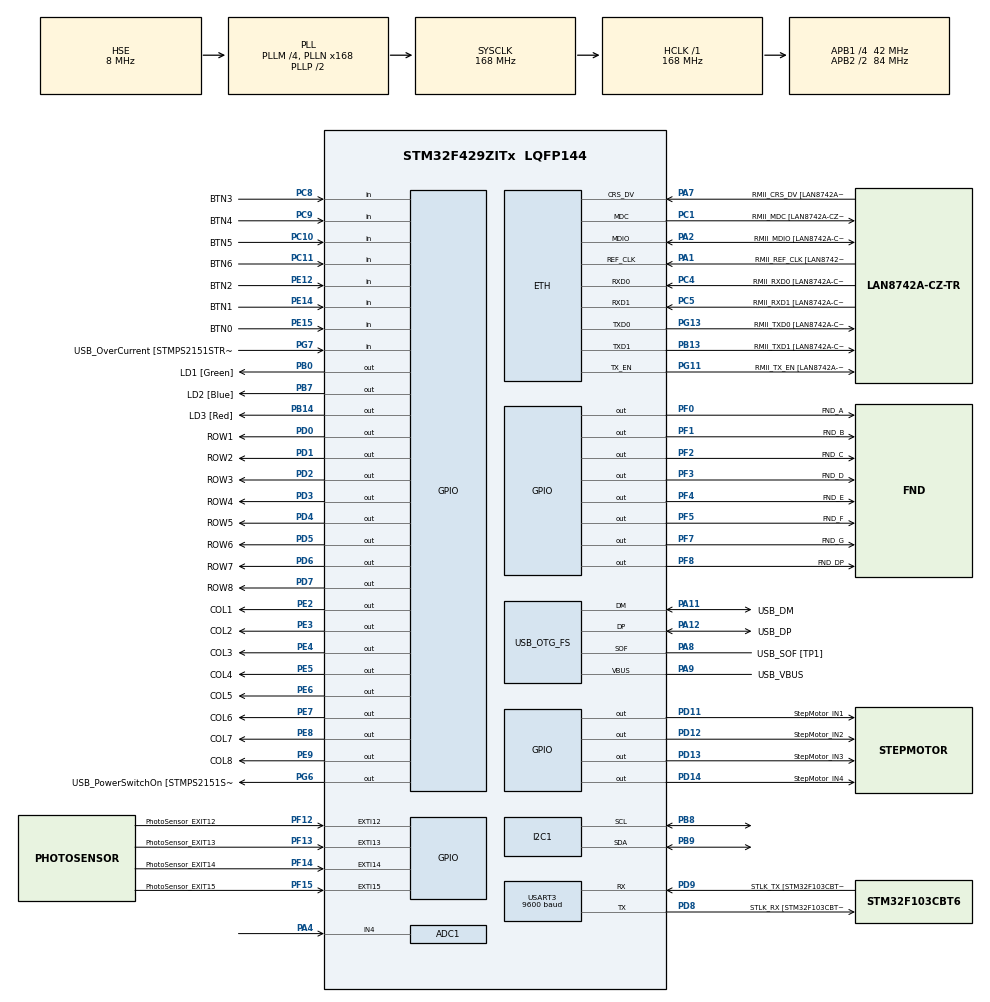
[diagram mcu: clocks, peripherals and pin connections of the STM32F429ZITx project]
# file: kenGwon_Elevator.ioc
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ADC1.Channel-0\#ChannelRegularConversion=ADC_CHANNEL_4
ADC1.ContinuousConvMode=ENABLE
ADC1.NbrOfConversionFlag=1
ADC1.Rank-0\#ChannelRegularConversion=1
ADC1.SamplingTime-0\#ChannelRegularConversion=ADC_SAMPLETIME_480CYCLES
ADC1.ScanConvMode=DISABLE
ADC1.master=1
ETH.MediaInterface=HAL_ETH_RMII_MODE
ETH.PHY_Name=LAN8742A_PHY_ADDRESS
ETH.PHY_Value=0
ETH.PhyAddress=0
FREERTOS.Events01=select_floor,Dynamic,NULL
FREERTOS.Mutexes01=mutex_lcd,Dynamic,NULL
FREERTOS.Tasks01=defaultTask,24,128,StartDefaultTask,Default,NULL,Dynamic,NULL,NULL;ctrl_StepMotor,8,128,ctrl_stepmotor,Default,NULL,Dynamic,NULL,NULL;ctrl_DotMatrix,8,128,ctrl_dotmatrix,Default,NULL,Dynamic,NULL,NULL;polling_BTN,8,128,polling_btn,Default,NULL,Dynamic,NULL,NULL;polling_BTN_FLO,8,128,polling_btn_floor,Default,NULL,Dynamic,NULL,NULL
FREERTOS.configUSE_NEWLIB_REENTRANT=1
Mcu.Family=STM32F4
Mcu.Name=STM32F429ZITx
Mcu.Package=LQFP144
NVIC.ADC_IRQn=true\:5\:0\:false\:false\:true\:true\:true\:true\:true
NVIC.EXTI15_10_IRQn=true\:5\:0\:false\:false\:true\:true\:true\:true\:true
NVIC.PriorityGroup=NVIC_PRIORITYGROUP_4
NVIC.TIM1_TRG_COM_TIM11_IRQn=true\:5\:0\:false\:false\:true\:true\:true\:true\:true
NVIC.TIM1_UP_TIM10_IRQn=true\:15\:0\:false\:false\:true\:false\:false\:true\:true
NVIC.TimeBase=TIM1_UP_TIM10_IRQn
NVIC.TimeBaseIP=TIM10
NVIC.USART3_IRQn=true\:5\:0\:false\:false\:true\:true\:true\:true\:true
PA1.GPIO_Label=RMII_REF_CLK [LAN8742A-CZ-TR_REFCLK0]
PA1.Mode=RMII
PA1.Signal=ETH_REF_CLK
PA10.GPIO_Label=USB_ID
PA10.Signal=USB_OTG_FS_ID
PA11.GPIO_Label=USB_DM
PA11.Mode=Device_Only
PA11.Signal=USB_OTG_FS_DM
PA12.GPIO_Label=USB_DP
PA12.Mode=Device_Only
PA12.Signal=USB_OTG_FS_DP
PA13.GPIO_Label=TMS
PA13.Mode=Serial_Wire
PA13.Signal=SYS_JTMS-SWDIO
PA14.GPIO_Label=TCK
PA14.Mode=Serial_Wire
PA14.Signal=SYS_JTCK-SWCLK
PA2.GPIO_Label=RMII_MDIO [LAN8742A-CZ-TR_MDIO]
PA2.Mode=RMII
PA2.Signal=ETH_MDIO
PA4.Signal=ADCx_IN4
PA7.GPIO_Label=RMII_CRS_DV [LAN8742A-CZ-TR_CRS_DV]
PA7.Mode=RMII
PA7.Signal=ETH_CRS_DV
PA8.GPIO_Label=USB_SOF [TP1]
PA8.Mode=Activate_SOF_FS
PA8.Signal=USB_OTG_FS_SOF
PA9.GPIO_Label=USB_VBUS
PA9.Mode=Activate_VBUS
PA9.Signal=USB_OTG_FS_VBUS
PB0.GPIO_Label=LD1 [Green]
PB0.Signal=GPIO_Output
PB13.GPIO_Label=RMII_TXD1 [LAN8742A-CZ-TR_TXD1]
PB13.Mode=RMII
PB13.Signal=ETH_TXD1
PB14.GPIO_Label=LD3 [Red]
PB14.Signal=GPIO_Output
PB7.GPIO_Label=LD2 [Blue]
PB7.Signal=GPIO_Output
PB8.Mode=I2C
PB8.Signal=I2C1_SCL
PB9.Mode=I2C
PB9.Signal=I2C1_SDA
PC1.GPIO_Label=RMII_MDC [LAN8742A-CZ-TR_MDC]
PC1.Mode=RMII
PC1.Signal=ETH_MDC
PC10.GPIO_Label=BTN5
PC10.Signal=GPIO_Input
PC11.GPIO_Label=BTN6
PC11.Signal=GPIO_Input
PC14/OSC32_IN.Mode=LSE-External-Oscillator
PC14/OSC32_IN.Signal=RCC_OSC32_IN
PC15/OSC32_OUT.Mode=LSE-External-Oscillator
PC15/OSC32_OUT.Signal=RCC_OSC32_OUT
PC4.GPIO_Label=RMII_RXD0 [LAN8742A-CZ-TR_RXD0]
PC4.Mode=RMII
PC4.Signal=ETH_RXD0
PC5.GPIO_Label=RMII_RXD1 [LAN8742A-CZ-TR_RXD1]
PC5.Mode=RMII
PC5.Signal=ETH_RXD1
PC8.GPIO_Label=BTN3
PC8.Signal=GPIO_Input
PC9.GPIO_Label=BTN4
PC9.Signal=GPIO_Input
PD0.GPIO_Label=ROW1
PD0.Signal=GPIO_Output
PD1.GPIO_Label=ROW2
PD1.Signal=GPIO_Output
PD11.GPIO_Label=StepMotor_IN1
PD11.Signal=GPIO_Output
PD12.GPIO_Label=StepMotor_IN2
PD12.Signal=GPIO_Output
PD13.GPIO_Label=StepMotor_IN3
PD13.Signal=GPIO_Output
PD14.GPIO_Label=StepMotor_IN4
PD14.Signal=GPIO_Output
PD2.GPIO_Label=ROW3
PD2.Signal=GPIO_Output
PD3.GPIO_Label=ROW4
PD3.Signal=GPIO_Output
PD4.GPIO_Label=ROW5
PD4.Signal=GPIO_Output
PD5.GPIO_Label=ROW6
PD5.Signal=GPIO_Output
PD6.GPIO_Label=ROW7
PD6.Signal=GPIO_Output
PD7.GPIO_Label=ROW8
PD7.Signal=GPIO_Output
PD8.GPIO_Label=STLK_RX [STM32F103CBT6_PA3]
PD8.Mode=Asynchronous
PD8.Signal=USART3_TX
PD9.GPIO_Label=STLK_TX [STM32F103CBT6_PA2]
PD9.Mode=Asynchronous
PD9.Signal=USART3_RX
PE12.GPIO_Label=BTN2
PE12.Signal=GPIO_Input
PE14.GPIO_Label=BTN1
PE14.Signal=GPIO_Input
PE15.GPIO_Label=BTN0
PE15.Signal=GPIO_Input
PE2.GPIO_Label=COL1
PE2.Signal=GPIO_Output
PE3.GPIO_Label=COL2
PE3.Signal=GPIO_Output
PE4.GPIO_Label=COL3
PE4.Signal=GPIO_Output
PE5.GPIO_Label=COL4
PE5.Signal=GPIO_Output
PE6.GPIO_Label=COL5
PE6.Signal=GPIO_Output
PE7.GPIO_Label=COL6
PE7.Signal=GPIO_Output
PE8.GPIO_Label=COL7
PE8.Signal=GPIO_Output
PE9.GPIO_Label=COL8
PE9.Signal=GPIO_Output
PF0.GPIO_Label=FND_A
PF0.Signal=GPIO_Output
PF1.GPIO_Label=FND_B
PF1.Signal=GPIO_Output
PF12.GPIO_Label=PhotoSensor_EXIT12
PF12.Signal=GPXTI12
PF13.GPIO_Label=PhotoSensor_EXIT13
PF13.Signal=GPXTI13
PF14.GPIO_Label=PhotoSensor_EXIT14
PF14.Signal=GPXTI14
PF15.GPIO_Label=PhotoSensor_EXIT15
PF15.Signal=GPXTI15
PF2.GPIO_Label=FND_C
PF2.Signal=GPIO_Output
PF3.GPIO_Label=FND_D
PF3.Signal=GPIO_Output
PF4.GPIO_Label=FND_E
PF4.Signal=GPIO_Output
PF5.GPIO_Label=FND_F
PF5.Signal=GPIO_Output
PF7.GPIO_Label=FND_G
PF7.Signal=GPIO_Output
PF8.GPIO_Label=FND_DP
PF8.Signal=GPIO_Output
PG11.GPIO_Label=RMII_TX_EN [LAN8742A-CZ-TR_TXEN]
PG11.Mode=RMII
PG11.Signal=ETH_TX_EN
PG13.GPIO_Label=RMII_TXD0 [LAN8742A-CZ-TR_TXD0]
PG13.Mode=RMII
PG13.Signal=ETH_TXD0
PG6.GPIO_Label=USB_PowerSwitchOn [STMPS2151STR_EN]
PG6.Signal=GPIO_Output
PG7.GPIO_Label=USB_OverCurrent [STMPS2151STR_FAULT]
PG7.Signal=GPIO_Input
PH0/OSC_IN.GPIO_Label=MCO [STM32F103CBT6_PA8]
PH0/OSC_IN.Mode=HSE-External-Clock-Source
PH0/OSC_IN.Signal=RCC_OSC_IN
PH1/OSC_OUT.Mode=HSE-External-Clock-Source
PH1/OSC_OUT.Signal=RCC_OSC_OUT
ProjectManager.HeapSize=0x200
ProjectManager.StackSize=0x400
ProjectManager.TargetToolchain=STM32CubeIDE
RCC.48MHZClocksFreq_Value=48000000
RCC.AHBFreq_Value=168000000
RCC.APB1CLKDivider=RCC_HCLK_DIV4
RCC.APB1Freq_Value=42000000
RCC.APB1TimFreq_Value=84000000
RCC.APB2CLKDivider=RCC_HCLK_DIV2
RCC.APB2Freq_Value=84000000
RCC.APB2TimCLKDivider=2
RCC.APB2TimFreq_Value=168000000
RCC.CortexFreq_Value=168000000
RCC.HCLKFreq_Value=168000000
RCC.HSE_VALUE=8000000
RCC.HSI_VALUE=16000000
RCC.PLLM=4
RCC.PLLMUL=RCC_PLL_MUL9
RCC.PLLN=168
RCC.PLLQ=7
RCC.PRESCALERUSB=RCC_USBCLKSOURCE_PLL_DIV1_5
RCC.SYSCLKFreq_VALUE=168000000
RCC.SYSCLKSource=RCC_SYSCLKSOURCE_PLLCLK
RCC.SYSCLKSourceVirtual=RCC_SYSCLKSOURCE_PLLCLK
RCC.USBFreq_Value=48000000
RCC.VCOOutputFreq_Value=336000000
SH.ADCx_IN4.0=ADC1_IN4,IN4
TIM11.Prescaler=168-1
USART3.BaudRate=9600
USART3.VirtualMode=VM_ASYNC
USB_OTG_FS.VirtualMode=Device_Only
VP_FREERTOS_VS_CMSIS_V2.Mode=CMSIS_V2
VP_SYS_VS_tim10.Mode=TIM10
VP_TIM11_VS_ClockSourceINT.Mode=Enable_Timer
board=NUCLEO-F429ZI

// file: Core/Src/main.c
/* USER CODE BEGIN Header */
/**
  ******************************************************************************
  * @file           : main.c
  * @brief          : Main program body
  ******************************************************************************
  * @attention
  *
  * Copyright (c) 2024 STMicroelectronics.
  * All rights reserved.
  *
  * This software is licensed under terms that can be found in the LICENSE file
  * in the root directory of this software component.
  * If no LICENSE file comes with this software, it is provided AS-IS.
  *
  ******************************************************************************
  */
/* USER CODE END Header */
#include "main.h"
#include "string.h"
#include "cmsis_os.h"

/* USER CODE BEGIN Includes */
#include <stdio.h>
//#include "elevator_loopmonitor.h"
#include "elevator_os.h"

/* USER CODE END Includes */

/* USER CODE BEGIN PD */

#define SELECT_FLOOR_FLAG (1 << 0) // flag for eventhandle r

/* USER CODE END PD */

ETH_TxPacketConfig TxConfig;
ETH_DMADescTypeDef  DMARxDscrTab[ETH_RX_DESC_CNT]; /* Ethernet Rx DMA Descriptors */
ETH_DMADescTypeDef  DMATxDscrTab[ETH_TX_DESC_CNT]; /* Ethernet Tx DMA Descriptors */

ADC_HandleTypeDef hadc1;

ETH_HandleTypeDef heth;

I2C_HandleTypeDef hi2c1;

TIM_HandleTypeDef htim11;

UART_HandleTypeDef huart3;

PCD_HandleTypeDef hpcd_USB_OTG_FS;

/* Definitions for defaultTask */
osThreadId_t defaultTaskHandle;
const osThreadAttr_t defaultTask_attributes = {
  .name = "defaultTask",
  .stack_size = 128 * 4,
  .priority = (osPriority_t) osPriorityNormal,
};
/* Definitions for ctrl_StepMotor */
osThreadId_t ctrl_StepMotorHandle;
const osThreadAttr_t ctrl_StepMotor_attributes = {
  .name = "ctrl_StepMotor",
  .stack_size = 128 * 4,
  .priority = (osPriority_t) osPriorityLow,
};
/* Definitions for ctrl_DotMatrix */
osThreadId_t ctrl_DotMatrixHandle;
const osThreadAttr_t ctrl_DotMatrix_attributes = {
  .name = "ctrl_DotMatrix",
  .stack_size = 128 * 4,
  .priority = (osPriority_t) osPriorityLow,
};
/* Definitions for polling_BTN */
osThreadId_t polling_BTNHandle;
const osThreadAttr_t polling_BTN_attributes = {
  .name = "polling_BTN",
  .stack_size = 128 * 4,
  .priority = (osPriority_t) osPriorityLow,
};
/* Definitions for polling_BTN_FLO */
osThreadId_t polling_BTN_FLOHandle;
const osThreadAttr_t polling_BTN_FLO_attributes = {
  .name = "polling_BTN_FLO",
  .stack_size = 128 * 4,
  .priority = (osPriority_t) osPriorityLow,
};
/* Definitions for mutex_lcd */
osMutexId_t mutex_lcdHandle;
const osMutexAttr_t mutex_lcd_attributes = {
  .name = "mutex_lcd"
};
/* Definitions for select_floor */
osEventFlagsId_t select_floorHandle;
const osEventFlagsAttr_t select_floor_attributes = {
  .name = "select_floor"
};
/* USER CODE BEGIN PV */

uint16_t adcValue[4]; // global variable for cds sensor ... using in callback_management.c

/* USER CODE END PV */

void SystemClock_Config(void);
static void MX_GPIO_Init(void);
static void MX_USART3_UART_Init(void);
static void MX_USB_OTG_FS_PCD_Init(void);
static void MX_TIM11_Init(void);
static void MX_ADC1_Init(void);
static void MX_ETH_Init(void);
static void MX_I2C1_Init(void);
void StartDefaultTask(void *argument);
void ctrl_stepmotor(void *argument);
void ctrl_dotmatrix(void *argument);
void polling_btn(void *argument);
void polling_btn_floor(void *argument);

/* USER CODE BEGIN 0 */

//----------  printf start ----------
#ifdef __GNUC__
/* With GCC, small printf (option LD Linker->Libraries->Small printf
   set to 'Yes') calls __io_putchar() */
#define PUTCHAR_PROTOTYPE int __io_putchar(int ch)
#else
#define PUTCHAR_PROTOTYPE int fputc(int ch, FILE *f)
#endif /* __GNUC_ */
/**
  * @brief  Retargets the C library printf function to the USART.
  * @param  None
  * @retval None
  */
PUTCHAR_PROTOTYPE   // Add for printf
{
  /* Place your implementation of fputc here */
  /* e.g. write a character to the USART3 and Loop until the end of transmission */
  HAL_UART_Transmit(&huart3, (uint8_t *)&ch, 1, 0xFFFF);

  return ch;
}
//----------  printf end ----------

/* USER CODE END 0 */

int main(void)
{

  /* MCU Configuration--------------------------------------------------------*/

  /* Reset of all peripherals, Initializes the Flash interface and the Systick. */
  HAL_Init();

  /* Configure the system clock */
  SystemClock_Config();

  /* Initialize all configured peripherals */
  MX_GPIO_Init();
  MX_USART3_UART_Init();
  MX_USB_OTG_FS_PCD_Init();
  MX_TIM11_Init();
  MX_ADC1_Init();
  MX_ETH_Init();
  MX_I2C1_Init();

  /* Init scheduler */
  osKernelInitialize();
  /* Create the mutex(es) */
  /* creation of mutex_lcd */
  mutex_lcdHandle = osMutexNew(&mutex_lcd_attributes);

  /* Create the thread(s) */
  /* creation of defaultTask */
  defaultTaskHandle = osThreadNew(StartDefaultTask, NULL, &defaultTask_attributes);

  /* creation of ctrl_StepMotor */
  ctrl_StepMotorHandle = osThreadNew(ctrl_stepmotor, NULL, &ctrl_StepMotor_attributes);

  /* creation of ctrl_DotMatrix */
  ctrl_DotMatrixHandle = osThreadNew(ctrl_dotmatrix, NULL, &ctrl_DotMatrix_attributes);

  /* creation of polling_BTN */
  polling_BTNHandle = osThreadNew(polling_btn, NULL, &polling_BTN_attributes);

  /* creation of polling_BTN_FLO */
  polling_BTN_FLOHandle = osThreadNew(polling_btn_floor, NULL, &polling_BTN_FLO_attributes);

  /* creation of select_floor */
  select_floorHandle = osEventFlagsNew(&select_floor_attributes);

  /* Start scheduler */
  osKernelStart();
  /* We should never get here as control is now taken by the scheduler */
  /* Infinite loop */
  while (1)
  {

  }
}

void SystemClock_Config(void)
{
  RCC_OscInitTypeDef RCC_OscInitStruct = {0};
  RCC_ClkInitTypeDef RCC_ClkInitStruct = {0};

  /** Configure the main internal regulator output voltage
  */
  __HAL_RCC_PWR_CLK_ENABLE();
  __HAL_PWR_VOLTAGESCALING_CONFIG(PWR_REGULATOR_VOLTAGE_SCALE1);

  /** Initializes the RCC Oscillators according to the specified parameters
  * in the RCC_OscInitTypeDef structure.
  */
  RCC_OscInitStruct.OscillatorType = RCC_OSCILLATORTYPE_HSE;
  RCC_OscInitStruct.HSEState = RCC_HSE_BYPASS;
  RCC_OscInitStruct.PLL.PLLState = RCC_PLL_ON;
  RCC_OscInitStruct.PLL.PLLSource = RCC_PLLSOURCE_HSE;
  RCC_OscInitStruct.PLL.PLLM = 4;
  RCC_OscInitStruct.PLL.PLLN = 168;
  RCC_OscInitStruct.PLL.PLLP = RCC_PLLP_DIV2;
  RCC_OscInitStruct.PLL.PLLQ = 7;
  if (HAL_RCC_OscConfig(&RCC_OscInitStruct) != HAL_OK)
  {
    Error_Handler();
  }

  /** Initializes the CPU, AHB and APB buses clocks
  */
  RCC_ClkInitStruct.ClockType = RCC_CLOCKTYPE_HCLK|RCC_CLOCKTYPE_SYSCLK
                              |RCC_CLOCKTYPE_PCLK1|RCC_CLOCKTYPE_PCLK2;
  RCC_ClkInitStruct.SYSCLKSource = RCC_SYSCLKSOURCE_PLLCLK;
  RCC_ClkInitStruct.AHBCLKDivider = RCC_SYSCLK_DIV1;
  RCC_ClkInitStruct.APB1CLKDivider = RCC_HCLK_DIV4;
  RCC_ClkInitStruct.APB2CLKDivider = RCC_HCLK_DIV2;

  if (HAL_RCC_ClockConfig(&RCC_ClkInitStruct, FLASH_LATENCY_5) != HAL_OK)
  {
    Error_Handler();
  }
}

static void MX_ADC1_Init(void)
{

  ADC_ChannelConfTypeDef sConfig = {0};

  /** Configure the global features of the ADC (Clock, Resolution, Data Alignment and number of conversion)
  */
  hadc1.Instance = ADC1;
  hadc1.Init.ClockPrescaler = ADC_CLOCK_SYNC_PCLK_DIV4;
  hadc1.Init.Resolution = ADC_RESOLUTION_12B;
  hadc1.Init.ScanConvMode = DISABLE;
  hadc1.Init.ContinuousConvMode = ENABLE;
  hadc1.Init.DiscontinuousConvMode = DISABLE;
  hadc1.Init.ExternalTrigConvEdge = ADC_EXTERNALTRIGCONVEDGE_NONE;
  hadc1.Init.ExternalTrigConv = ADC_SOFTWARE_START;
  hadc1.Init.DataAlign = ADC_DATAALIGN_RIGHT;
  hadc1.Init.NbrOfConversion = 1;
  hadc1.Init.DMAContinuousRequests = DISABLE;
  hadc1.Init.EOCSelection = ADC_EOC_SINGLE_CONV;
  if (HAL_ADC_Init(&hadc1) != HAL_OK)
  {
    Error_Handler();
  }

  /** Configure for the selected ADC regular channel its corresponding rank in the sequencer and its sample time.
  */
  sConfig.Channel = ADC_CHANNEL_4;
  sConfig.Rank = 1;
  sConfig.SamplingTime = ADC_SAMPLETIME_480CYCLES;
  if (HAL_ADC_ConfigChannel(&hadc1, &sConfig) != HAL_OK)
  {
    Error_Handler();
  }

}

static void MX_ETH_Init(void)
{

   static uint8_t MACAddr[6];

  heth.Instance = ETH;
  MACAddr[0] = 0x00;
  MACAddr[1] = 0x80;
  MACAddr[2] = 0xE1;
  MACAddr[3] = 0x00;
  MACAddr[4] = 0x00;
  MACAddr[5] = 0x00;
  heth.Init.MACAddr = &MACAddr[0];
  heth.Init.MediaInterface = HAL_ETH_RMII_MODE;
  heth.Init.TxDesc = DMATxDscrTab;
  heth.Init.RxDesc = DMARxDscrTab;
  heth.Init.RxBuffLen = 1524;

  if (HAL_ETH_Init(&heth) != HAL_OK)
  {
    Error_Handler();
  }

  memset(&TxConfig, 0 , sizeof(ETH_TxPacketConfig));
  TxConfig.Attributes = ETH_TX_PACKETS_FEATURES_CSUM | ETH_TX_PACKETS_FEATURES_CRCPAD;
  TxConfig.ChecksumCtrl = ETH_CHECKSUM_IPHDR_PAYLOAD_INSERT_PHDR_CALC;
  TxConfig.CRCPadCtrl = ETH_CRC_PAD_INSERT;

}

static void MX_I2C1_Init(void)
{

  hi2c1.Instance = I2C1;
  hi2c1.Init.ClockSpeed = 100000;
  hi2c1.Init.DutyCycle = I2C_DUTYCYCLE_2;
  hi2c1.Init.OwnAddress1 = 0;
  hi2c1.Init.AddressingMode = I2C_ADDRESSINGMODE_7BIT;
  hi2c1.Init.DualAddressMode = I2C_DUALADDRESS_DISABLE;
  hi2c1.Init.OwnAddress2 = 0;
  hi2c1.Init.GeneralCallMode = I2C_GENERALCALL_DISABLE;
  hi2c1.Init.NoStretchMode = I2C_NOSTRETCH_DISABLE;
  if (HAL_I2C_Init(&hi2c1) != HAL_OK)
  {
    Error_Handler();
  }

  /** Configure Analogue filter
  */
  if (HAL_I2CEx_ConfigAnalogFilter(&hi2c1, I2C_ANALOGFILTER_ENABLE) != HAL_OK)
  {
    Error_Handler();
  }

  /** Configure Digital filter
  */
  if (HAL_I2CEx_ConfigDigitalFilter(&hi2c1, 0) != HAL_OK)
  {
    Error_Handler();
  }

}

static void MX_TIM11_Init(void)
{

  htim11.Instance = TIM11;
  htim11.Init.Prescaler = 168-1;
  htim11.Init.CounterMode = TIM_COUNTERMODE_UP;
  htim11.Init.Period = 65535;
  htim11.Init.ClockDivision = TIM_CLOCKDIVISION_DIV1;
  htim11.Init.AutoReloadPreload = TIM_AUTORELOAD_PRELOAD_DISABLE;
  if (HAL_TIM_Base_Init(&htim11) != HAL_OK)
  {
    Error_Handler();
  }

}

static void MX_USART3_UART_Init(void)
{

  huart3.Instance = USART3;
  huart3.Init.BaudRate = 9600;
  huart3.Init.WordLength = UART_WORDLENGTH_8B;
  huart3.Init.StopBits = UART_STOPBITS_1;
  huart3.Init.Parity = UART_PARITY_NONE;
  huart3.Init.Mode = UART_MODE_TX_RX;
  huart3.Init.HwFlowCtl = UART_HWCONTROL_NONE;
  huart3.Init.OverSampling = UART_OVERSAMPLING_16;
  if (HAL_UART_Init(&huart3) != HAL_OK)
  {
    Error_Handler();
  }

}

static void MX_USB_OTG_FS_PCD_Init(void)
{

  hpcd_USB_OTG_FS.Instance = USB_OTG_FS;
  hpcd_USB_OTG_FS.Init.dev_endpoints = 4;
  hpcd_USB_OTG_FS.Init.speed = PCD_SPEED_FULL;
  hpcd_USB_OTG_FS.Init.dma_enable = DISABLE;
  hpcd_USB_OTG_FS.Init.phy_itface = PCD_PHY_EMBEDDED;
  hpcd_USB_OTG_FS.Init.Sof_enable = ENABLE;
  hpcd_USB_OTG_FS.Init.low_power_enable = DISABLE;
  hpcd_USB_OTG_FS.Init.lpm_enable = DISABLE;
  hpcd_USB_OTG_FS.Init.vbus_sensing_enable = ENABLE;
  hpcd_USB_OTG_FS.Init.use_dedicated_ep1 = DISABLE;
  if (HAL_PCD_Init(&hpcd_USB_OTG_FS) != HAL_OK)
  {
    Error_Handler();
  }

}

static void MX_GPIO_Init(void)
{
  GPIO_InitTypeDef GPIO_InitStruct = {0};

  /* GPIO Ports Clock Enable */
  __HAL_RCC_GPIOE_CLK_ENABLE();
  __HAL_RCC_GPIOC_CLK_ENABLE();
  __HAL_RCC_GPIOF_CLK_ENABLE();
  __HAL_RCC_GPIOH_CLK_ENABLE();
  __HAL_RCC_GPIOA_CLK_ENABLE();
  __HAL_RCC_GPIOB_CLK_ENABLE();
  __HAL_RCC_GPIOD_CLK_ENABLE();
  __HAL_RCC_GPIOG_CLK_ENABLE();

  /*Configure GPIO pin Output Level */
  HAL_GPIO_WritePin(GPIOE, COL1_Pin|COL2_Pin|COL3_Pin|COL4_Pin
                          |COL5_Pin|COL6_Pin|COL7_Pin|COL8_Pin, GPIO_PIN_RESET);

  /*Configure GPIO pin Output Level */
  HAL_GPIO_WritePin(GPIOF, FND_A_Pin|FND_B_Pin|FND_C_Pin|FND_D_Pin
                          |FND_E_Pin|FND_F_Pin|FND_G_Pin|FND_DP_Pin, GPIO_PIN_RESET);

  /*Configure GPIO pin Output Level */
  HAL_GPIO_WritePin(GPIOB, LD1_Pin|LD3_Pin|LD2_Pin, GPIO_PIN_RESET);

  /*Configure GPIO pin Output Level */
  HAL_GPIO_WritePin(GPIOD, StepMotor_IN1_Pin|StepMotor_IN2_Pin|StepMotor_IN3_Pin|StepMotor_IN4_Pin
                          |ROW1_Pin|ROW2_Pin|ROW3_Pin|ROW4_Pin
                          |ROW5_Pin|ROW6_Pin|ROW7_Pin|ROW8_Pin, GPIO_PIN_RESET);

  /*Configure GPIO pin Output Level */
  HAL_GPIO_WritePin(USB_PowerSwitchOn_GPIO_Port, USB_PowerSwitchOn_Pin, GPIO_PIN_RESET);

  /*Configure GPIO pins : COL1_Pin COL2_Pin COL3_Pin COL4_Pin
                           COL5_Pin COL6_Pin COL7_Pin COL8_Pin */
  GPIO_InitStruct.Pin = COL1_Pin|COL2_Pin|COL3_Pin|COL4_Pin
                          |COL5_Pin|COL6_Pin|COL7_Pin|COL8_Pin;
  GPIO_InitStruct.Mode = GPIO_MODE_OUTPUT_PP;
  GPIO_InitStruct.Pull = GPIO_NOPULL;
  GPIO_InitStruct.Speed = GPIO_SPEED_FREQ_LOW;
  HAL_GPIO_Init(GPIOE, &GPIO_InitStruct);

  /*Configure GPIO pins : FND_A_Pin FND_B_Pin FND_C_Pin FND_D_Pin
                           FND_E_Pin FND_F_Pin FND_G_Pin FND_DP_Pin */
  GPIO_InitStruct.Pin = FND_A_Pin|FND_B_Pin|FND_C_Pin|FND_D_Pin
                          |FND_E_Pin|FND_F_Pin|FND_G_Pin|FND_DP_Pin;
  GPIO_InitStruct.Mode = GPIO_MODE_OUTPUT_PP;
  GPIO_InitStruct.Pull = GPIO_NOPULL;
  GPIO_InitStruct.Speed = GPIO_SPEED_FREQ_LOW;
  HAL_GPIO_Init(GPIOF, &GPIO_InitStruct);

  /*Configure GPIO pins : LD1_Pin LD3_Pin LD2_Pin */
  GPIO_InitStruct.Pin = LD1_Pin|LD3_Pin|LD2_Pin;
  GPIO_InitStruct.Mode = GPIO_MODE_OUTPUT_PP;
  GPIO_InitStruct.Pull = GPIO_NOPULL;
  GPIO_InitStruct.Speed = GPIO_SPEED_FREQ_LOW;
  HAL_GPIO_Init(GPIOB, &GPIO_InitStruct);

  /*Configure GPIO pins : PhotoSensor_EXIT12_Pin PhotoSensor_EXIT13_Pin PhotoSensor_EXIT14_Pin PhotoSensor_EXIT15_Pin */
  GPIO_InitStruct.Pin = PhotoSensor_EXIT12_Pin|PhotoSensor_EXIT13_Pin|PhotoSensor_EXIT14_Pin|PhotoSensor_EXIT15_Pin;
  GPIO_InitStruct.Mode = GPIO_MODE_IT_RISING;
  GPIO_InitStruct.Pull = GPIO_NOPULL;
  HAL_GPIO_Init(GPIOF, &GPIO_InitStruct);

  /*Configure GPIO pins : BTN2_Pin BTN1_Pin BTN0_Pin */
  GPIO_InitStruct.Pin = BTN2_Pin|BTN1_Pin|BTN0_Pin;
  GPIO_InitStruct.Mode = GPIO_MODE_INPUT;
  GPIO_InitStruct.Pull = GPIO_NOPULL;
  HAL_GPIO_Init(GPIOE, &GPIO_InitStruct);

  /*Configure GPIO pins : StepMotor_IN1_Pin StepMotor_IN2_Pin StepMotor_IN3_Pin StepMotor_IN4_Pin
                           ROW1_Pin ROW2_Pin ROW3_Pin ROW4_Pin
                           ROW5_Pin ROW6_Pin ROW7_Pin ROW8_Pin */
  GPIO_InitStruct.Pin = StepMotor_IN1_Pin|StepMotor_IN2_Pin|StepMotor_IN3_Pin|StepMotor_IN4_Pin
                          |ROW1_Pin|ROW2_Pin|ROW3_Pin|ROW4_Pin
                          |ROW5_Pin|ROW6_Pin|ROW7_Pin|ROW8_Pin;
  GPIO_InitStruct.Mode = GPIO_MODE_OUTPUT_PP;
  GPIO_InitStruct.Pull = GPIO_NOPULL;
  GPIO_InitStruct.Speed = GPIO_SPEED_FREQ_LOW;
  HAL_GPIO_Init(GPIOD, &GPIO_InitStruct);

  /*Configure GPIO pin : USB_PowerSwitchOn_Pin */
  GPIO_InitStruct.Pin = USB_PowerSwitchOn_Pin;
  GPIO_InitStruct.Mode = GPIO_MODE_OUTPUT_PP;
  GPIO_InitStruct.Pull = GPIO_NOPULL;
  GPIO_InitStruct.Speed = GPIO_SPEED_FREQ_LOW;
  HAL_GPIO_Init(USB_PowerSwitchOn_GPIO_Port, &GPIO_InitStruct);

  /*Configure GPIO pin : USB_OverCurrent_Pin */
  GPIO_InitStruct.Pin = USB_OverCurrent_Pin;
  GPIO_InitStruct.Mode = GPIO_MODE_INPUT;
  GPIO_InitStruct.Pull = GPIO_NOPULL;
  HAL_GPIO_Init(USB_OverCurrent_GPIO_Port, &GPIO_InitStruct);

  /*Configure GPIO pins : BTN3_Pin BTN4_Pin BTN5_Pin BTN6_Pin */
  GPIO_InitStruct.Pin = BTN3_Pin|BTN4_Pin|BTN5_Pin|BTN6_Pin;
  GPIO_InitStruct.Mode = GPIO_MODE_INPUT;
  GPIO_InitStruct.Pull = GPIO_NOPULL;
  HAL_GPIO_Init(GPIOC, &GPIO_InitStruct);

  /* EXTI interrupt init*/
  HAL_NVIC_SetPriority(EXTI15_10_IRQn, 5, 0);
  HAL_NVIC_EnableIRQ(EXTI15_10_IRQn);

}

void StartDefaultTask(void *argument)
{
  /* USER CODE BEGIN 5 */
	elevator_init();

  /* Infinite loop */
  for(;;)
  {
    osDelay(1);
  }

  	elevator_terminate();
  /* USER CODE END 5 */
}

void ctrl_stepmotor(void *argument)
{
  /* USER CODE BEGIN ctrl_stepmotor */
	/* Infinite loop */
	for(;;)
	{
		control_stepmotor(get_curr_status());
		osDelay(1);
	}
  /* USER CODE END ctrl_stepmotor */
}

void ctrl_dotmatrix(void *argument)
{
  /* USER CODE BEGIN ctrl_dotmatrix */
	/* Infinite loop */
	for(;;)
	{
		control_dotmatrix(get_curr_status());
		osDelay(1);
	}
  /* USER CODE END ctrl_dotmatrix */
}

void polling_btn(void *argument)
{
  /* USER CODE BEGIN polling_btn */
	/* Infinite loop */
	for(;;)
	{
		if (Get_Button(BTN0_GPIO_Port, BTN0_Pin, 0) == BUTTON_PRESS) // 취소버튼
		{
			set_curr_status(STOP);
		}
		else if (Get_Button(BTN1_GPIO_Port, BTN1_Pin, 1) == BUTTON_PRESS) // ?��?�� �???겠다?�� ?��?��?��?��
		{
	        HAL_GPIO_TogglePin(GPIOB, LD2_Pin);
	        uint32_t flags = osEventFlagsWait(select_floorHandle, SELECT_FLOOR_FLAG, osFlagsWaitAny, 3000);
	        HAL_GPIO_TogglePin(GPIOB, LD2_Pin);

	        if (flags & SELECT_FLOOR_FLAG) {
				if (get_curr_floor() <= get_target_floor())
				{
					set_target_floor(get_curr_floor());
					display_alert_info();
					HAL_Delay(2000);
					display_floor_info();
				}
				else
				{
					set_curr_status(START_BOTTOM_UP);
					set_dotmatrix_buffer(get_curr_status(), get_curr_floor() - 1);
				}

				osEventFlagsClear(select_floorHandle, SELECT_FLOOR_FLAG);
	        }

		}
		else if (Get_Button(BTN2_GPIO_Port, BTN2_Pin, 2) == BUTTON_PRESS) // ?��?�� �???겠다?�� ?��?��?��?��
		{
	        HAL_GPIO_TogglePin(GPIOB, LD3_Pin);
			uint32_t flags = osEventFlagsWait(select_floorHandle, SELECT_FLOOR_FLAG, osFlagsWaitAny, 3000);
			HAL_GPIO_TogglePin(GPIOB, LD3_Pin);

	        if (flags & SELECT_FLOOR_FLAG) {

	        	if (get_curr_floor() >= get_target_floor())
	        	{
	        		set_target_floor(get_curr_floor());
	        		display_alert_info();
	        		HAL_Delay(2000);
	        		display_floor_info();
	        	}
	        	else
	        	{
					set_curr_status(START_TOP_DOWN);
					set_dotmatrix_buffer(get_curr_status(), get_curr_floor() + 1);
	        	}

	        	osEventFlagsClear(select_floorHandle, SELECT_FLOOR_FLAG);
	        }

		}

		osDelay(1);
	}
  /* USER CODE END polling_btn */
}

void polling_btn_floor(void *argument)
{
  /* USER CODE BEGIN polling_btn_floor */
  /* Infinite loop */
	for(;;)
	{
		if (Get_Button(BTN3_GPIO_Port, BTN3_Pin, 3) == BUTTON_PRESS) // ?��?��버튼
		{
			set_target_floor(FLOOR_1);
			display_floor_info();
			osEventFlagsSet(select_floorHandle, SELECT_FLOOR_FLAG);
		}
		else if (Get_Button(BTN4_GPIO_Port, BTN4_Pin, 4) == BUTTON_PRESS) // ?��?��버튼
		{
			set_target_floor(FLOOR_2);
			display_floor_info();
			osEventFlagsSet(select_floorHandle, SELECT_FLOOR_FLAG);
		}
		else if (Get_Button(BTN5_GPIO_Port, BTN5_Pin, 5) == BUTTON_PRESS) // ?��?��버튼
		{
			set_target_floor(FLOOR_3);
			display_floor_info();
			osEventFlagsSet(select_floorHandle, SELECT_FLOOR_FLAG);
		}
		else if (Get_Button(BTN6_GPIO_Port, BTN6_Pin, 6) == BUTTON_PRESS) // ?��?��버튼
		{
			set_target_floor(FLOOR_4);
			display_floor_info();
			osEventFlagsSet(select_floorHandle, SELECT_FLOOR_FLAG);
		}

		osDelay(1);
	}
  /* USER CODE END polling_btn_floor */
}

void HAL_TIM_PeriodElapsedCallback(TIM_HandleTypeDef *htim)
{
  if (htim->Instance == TIM10) {
    HAL_IncTick();
  }
}

void Error_Handler(void)
{
  __disable_irq();
  while (1)
  {
  }
}
